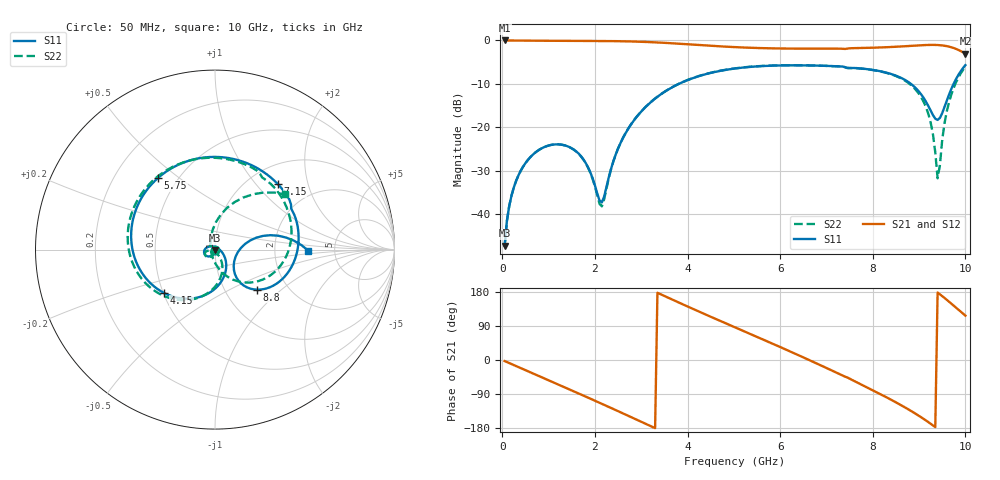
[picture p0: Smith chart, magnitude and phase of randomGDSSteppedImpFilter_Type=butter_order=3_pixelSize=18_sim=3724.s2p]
! freq	dB(S11)	phase(S11)	dB(S12)	phase(S12)
!  dB(S21)	phase(S21)	dB(S22)	phase(S22)
!S-par simulation data
#  GHz  S  DB  R 50
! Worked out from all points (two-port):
!   200 points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, 50 MHz to 10 GHz, reference 50 ohm
!   highest |S21| = -0.01 dB at 50 MHz (marker M1); lowest = -3.1 dB at 10 GHz (marker M2)
!   |S21| within 3 dB of the highest: start of sweep to 9.988 GHz
!   lowest |S11| = -47.3 dB at 50 MHz (marker M3), VSWR 1.01, Z = 50 - j0.431 ohm
!   |S11| at or under -10 dB: start of sweep to 3.817 GHz; 8.821 GHz to 9.747 GHz (925.8 MHz wide, 9.97 % of centre)
!   |S22| runs from -47.4 to -5.7 dB; largest |S21 - S12| = 0
!   S11 on the Smith chart (normalised r, x): 50 MHz: 1.00, -0.01; 4.15 GHz: 0.50, -0.28; 5.75 GHz: 0.39, +0.42; 7.15 GHz: 1.34, +1.31; 8.8 GHz: 1.40, -0.70; 10 GHz: 3.16, -0.04
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0.05  -47.31 -89.6  -0.01 -2.7  -0.01 -2.7  -47.44 -86.8
0.15  -38.17 -96.9  -0.02 -8.1  -0.02 -8.1  -38.16 -95.9
0.25  -33.87 -103.6  -0.02 -13.5  -0.02 -13.5  -33.84 -101.9
0.6  -26.97 -124.7  -0.05 -32.2  -0.05 -32.2  -26.98 -120.4
1.2  -23.96 -160.8  -0.09 -64.2  -0.09 -64.2  -23.96 -149.9
1.75  -27.41 160.5  -0.12 -93.8  -0.12 -93.8  -27.46 -171.1
2.15  -37.36 58.3  -0.14 -115.6  -0.14 -115.6  -38.25 -110.2
2.6  -22.62 -40.5  -0.19 -140.5  -0.19 -140.5  -22.59 -60.9
3.4  -12.61 -94.9  -0.49 174.6  -0.49 174.6  -12.57 -96.9
4.15  -8.56 -139.7  -0.99 133.1  -0.99 133.1  -8.53 -134.7
5.05  -6.44 168.5  -1.56 84.9  -1.56 84.9  -6.40 -178.8
5.75  -5.85 128.3  -1.81 47.7  -1.81 47.7  -5.81 147.4
6.7  -5.78 72.8  -1.89 -4.2  -1.89 -4.2  -5.77 99.3
7.15  -5.92 46.3  -1.88 -29.7  -1.88 -29.7  -5.93 74.7
7.8  -6.52 9.5  -1.73 -67.6  -1.73 -67.6  -6.55 37.1
8.35  -7.59 -20.8  -1.54 -101.9  -1.54 -101.9  -7.65 1.3
8.8  -9.83 -43.8  -1.27 -132.5  -1.27 -132.5  -10.05 -32.1
9.2  -15.13 -50.8  -1.04 -163.9  -1.04 -163.9  -16.93 -70.4
9.3  -17.22 -40.9  -1.03 -172.6  -1.03 -172.6  -21.68 -86.7
9.4  -18.33 -19.2  -1.06 178.2  -1.06 178.2  -31.79 -148.7
9.65  -12.40 16.1  -1.44 153.5  -1.44 153.5  -14.11 80.7
10  -5.70 -0.6  -3.09 117.1  -3.09 117.1  -6.06 38.2
